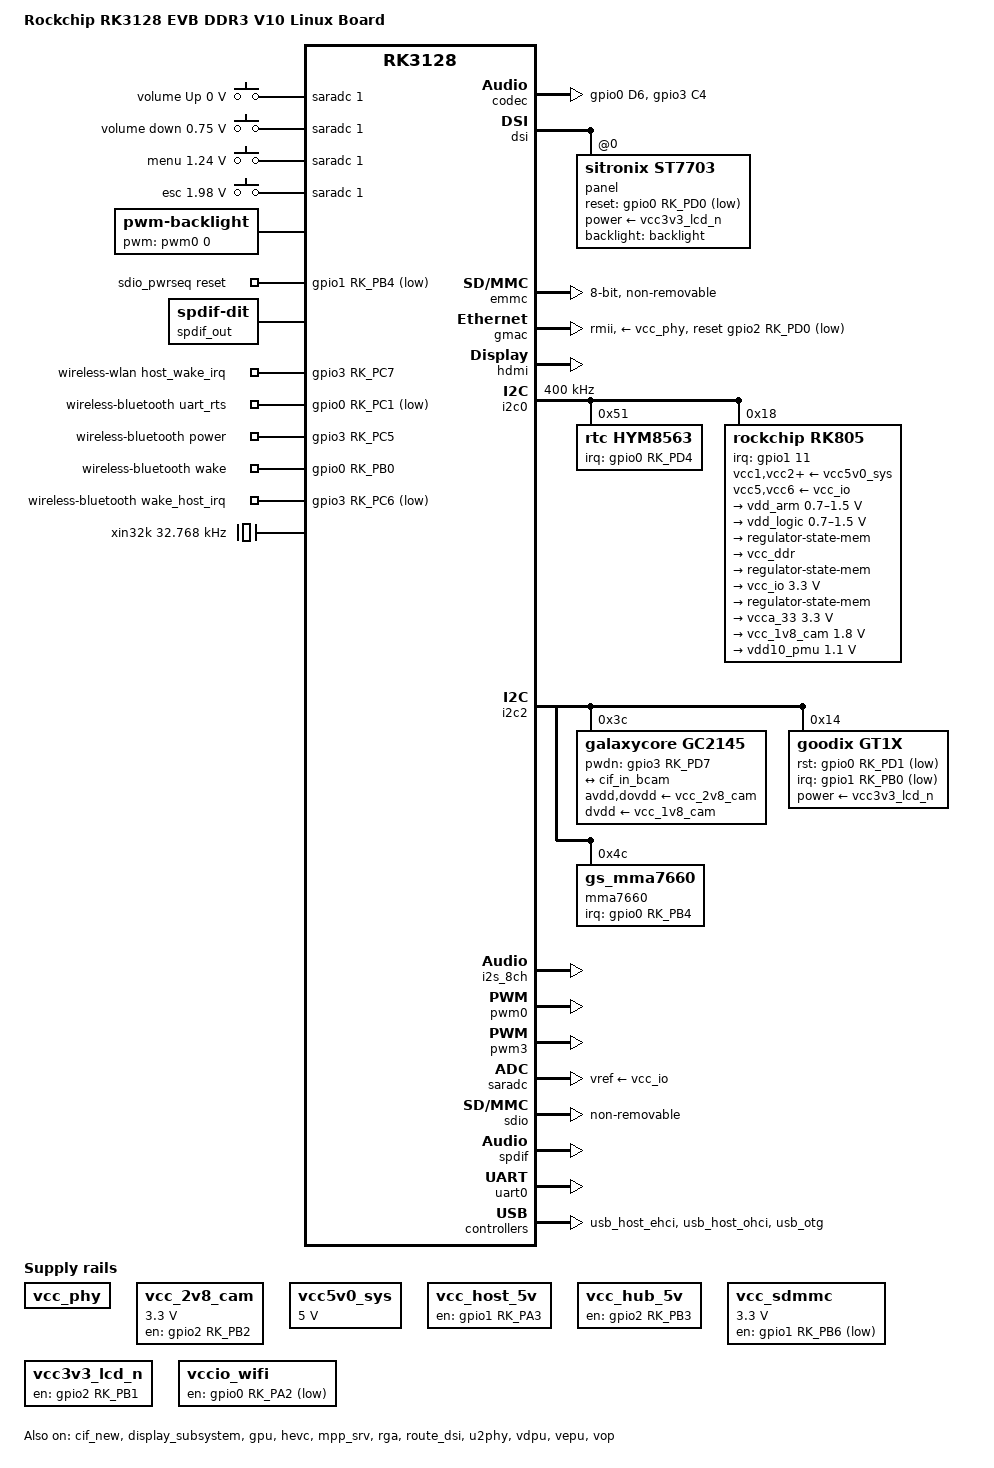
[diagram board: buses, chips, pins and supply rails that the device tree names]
// SPDX-License-Identifier: (GPL-2.0+ OR MIT)
/*
 * Copyright (c) 2022 Rockchip Electronics Co., Ltd
 */

/dts-v1/;
#include <dt-bindings/gpio/gpio.h>
#include <dt-bindings/input/rk-input.h>
#include <dt-bindings/pinctrl/rockchip.h>
#include <dt-bindings/pwm/pwm.h>
#include <dt-bindings/sensor-dev.h>
#include "rk3128.dtsi"
#include "rk312x-android.dtsi"

/ {
	model = "Rockchip RK3128 EVB DDR3 V10 Linux Board";
	compatible = "rockchip,rk3128";

	chosen {
		bootargs = "root=PARTUUID=614e0000-0000-4b53-8000-1d28000054a9 rootwait";
	};

	adc-keys {
		compatible = "adc-keys";
		io-channels = <&saradc 1>;
		io-channel-names = "buttons";
		poll-interval = <100>;
		keyup-threshold-microvolt = <3300000>;

		vol-up-key {
			label = "volume Up";
			linux,code = <KEY_VOLUMEUP>;
			press-threshold-microvolt = <0>;
		};

		vol-down-key{
			label = "volume down";
			linux,code = <KEY_VOLUMEDOWN>;
			press-threshold-microvolt = <750000>;
		};

		menu-key{
			label = "menu";
			linux,code = <KEY_MENU>;
			press-threshold-microvolt = <1240000>;
		};

		esc-key {
			label = "esc";
			linux,code = <KEY_ESC>;
			press-threshold-microvolt = <1980000>;
		};
	};

	backlight: backlight {
		compatible = "pwm-backlight";
		pwms = <&pwm0 0 25000 0>;
		brightness-levels = <0 1 2 3 4 5 6 7 8 9 10 11 12 13 14 15 16
			17 18 19 20 21 22 23 24 25 26 27 28 29 30 31 32 33 34
			35 36 37 38 39 40 41 42 43 44 45 46 47 48 49 50 51 52
			53 54 55 56 57 58 59 60 61 62 63 64 65 66 67 68 69 70
			71 72 73 74 75 76 77 78 79 80 81 82 83 84 85 86 87 88
			89 90 91 92 93 94 95 96 97 98 99 100 101 102 103 104
			105 106 107 108 109 110 111 112 113 114 115 116 117
			118 119 120 121 122 123 124 125 126 127 128 129 130
			131 132 133 134 135 136 137 138 139 140 141 142 143
			144 145 146 147 148 149 150 151 152 153 154 155 156
			157 158 159 160 161 162 163 164 165 166 167 168 169
			170 171 172 173 174 175 176 177 178 179 180 181 182
			183 184 185 186 187 188 189 190 191 192 193 194 195
			196 197 198 199 200 201 202 203 204 205 206 207 208
			209 210 211 212 213 214 215 216 217 218 219 220 221
			222 223 224 225 226 227 228 229 230 231 232 233 234
			235 236 237 238 239 240 241 242 243 244 245 246 247
			248 249 250 251 252 253 254 255>;
		default-brightness-level = <128>;
	};

	sdio_pwrseq: sdio-pwrseq{
		compatible = "mmc-pwrseq-simple";
		pinctrl-name = "default";
		pinctrl-0 = <&wifi_enable_h>;
		reset-gpios = <&gpio1 RK_PB4 GPIO_ACTIVE_LOW>;
	};

	sound: sound {
		compatible = "simple-audio-card";
		simple-audio-card,format = "i2s";
		simple-audio-card,name = "rockchip,rk312x-codec";
		simple-audio-card,mclk-fs = <256>;
		simple-audio-card,widgets =
			"Headphone", "Headphone Jack";
		simple-audio-card,routing =
			"Headphone Jack", "HPOL",
			"Headphone Jack", "HPOR";

		simple-audio-card,dai-link@0 {
			format = "i2s";
			cpu {
				sound-dai = <&i2s_8ch 0>;
			};

			codec {
				sound-dai = <&codec>;
			};
		};

		simple-audio-card,dai-link@1 {
			format = "i2s";
			cpu {
				sound-dai = <&i2s_8ch 1>;
			};

			codec {
				sound-dai = <&hdmi>;
			};
		};
	};

	spdif_out: spdif-out {
		status = "okay";
		compatible = "linux,spdif-dit";
		#sound-dai-cells = <0>;
	};

	spdif_sound: spdif-sound {
		status = "okay";
		compatible = "simple-audio-card";
		simple-audio-card,name = "ROCKCHIP,SPDIF";
		simple-audio-card,cpu {
			sound-dai = <&spdif>;
		};
		simple-audio-card,codec {
			sound-dai = <&spdif_out>;
		};
	};

	wireless-wlan {
		compatible = "wlan-platdata";
		wifi_chip_type = "ap6212";
		sdio_vref = <3300>;
		rockchip,grf = <&grf>;
		WIFI,host_wake_irq = <&gpio3 RK_PC7 GPIO_ACTIVE_HIGH>;
		status = "okay";
	};

	wireless-bluetooth {
		compatible = "bluetooth-platdata";
		clocks = <&rk805 1>;
		clock-names = "ext_clock";
		uart_rts_gpios = <&gpio0 RK_PC1 GPIO_ACTIVE_LOW>;
		pinctrl-names = "default","rts_gpio";
		pinctrl-0 = <&uart0_rts>;
		pinctrl-1 = <&uart0_rts_gpio>;
		BT,power_gpio = <&gpio3 RK_PC5 GPIO_ACTIVE_HIGH>;
		BT,wake_gpio = <&gpio0 RK_PB0 GPIO_ACTIVE_HIGH>;
		BT,wake_host_irq = <&gpio3 RK_PC6 GPIO_ACTIVE_LOW>;
		status = "okay";
	};

	vcc_phy: vcc-phy-regulator {
		compatible = "regulator-fixed";
		enable-active-high;
		regulator-name = "vcc_phy";
		regulator-always-on;
		regulator-boot-on;
	};

	vcc_2v8_cam: vcc-3v3-cam {
		compatible = "regulator-fixed";
		regulator-name = "vcc_2v8_cam";
		gpio = <&gpio2 RK_PB2 GPIO_ACTIVE_LOW>;
		enable-active-high;
		regulator-min-microvolt = <3300000>;
		regulator-max-microvolt = <3300000>;
	};

	vcc5v0_sys: vcc-sys {
		compatible = "regulator-fixed";
		regulator-name = "vcc5v0_sys";
		regulator-always-on;
		regulator-boot-on;
		regulator-min-microvolt = <5000000>;
		regulator-max-microvolt = <5000000>;
	};

	vcc_host_5v: vcc-host-5v-regulator {
		compatible = "regulator-fixed";
		enable-active-high;
		gpio = <&gpio1 RK_PA3 GPIO_ACTIVE_LOW>;
		pinctrl-names = "default";
		pinctrl-0 = <&host_vbus_drv>;
		regulator-name = "vcc_host_5v";
		regulator-always-on;
	};

	vcc_hub_5v: vcc-hub-5v-regulator {
		compatible = "regulator-fixed";
		regulator-name = "vcc_hub_5v";
		gpio = <&gpio2 RK_PB3 GPIO_ACTIVE_LOW>;
		pinctrl-names = "default";
		pinctrl-0 = <&hub_rst>;
		enable-active-high;
		regulator-always-on;
	};

	vcc_sdmmc: vcc-sdmmc{
		compatible = "regulator-fixed";
		gpio = <&gpio1 RK_PB6 GPIO_ACTIVE_HIGH>;
		pinctrl-names = "default";
		pinctrl-0 = <&sdmmc_pwren>;
		regulator-name = "vcc_sdmmc";
		regulator-min-microvolt = <3300000>;
		regulator-max-microvolt = <3300000>;
	};

	vcc3v3_lcd_n: vcc3v3-lcd-n {
		compatible = "regulator-fixed";
		regulator-name = "vcc3v3_lcd_n";
		pinctrl-names = "default";
		pinctrl-0 = <&lcd_en>;
		gpio = <&gpio2 RK_PB1 GPIO_ACTIVE_HIGH>;
		enable-active-high;
		regulator-boot-on;
	};

	vccio_wifi: vccio-wifi {
		compatible = "regulator-fixed";
		regulator-name = "vccio_wifi";
		pinctrl-names = "default";
		pinctrl-0 = <&wifi_pwren_l>;
		gpio = <&gpio0 RK_PA2 GPIO_ACTIVE_LOW>;
		regulator-boot-on;
		regulator-always-on;
	};

	xin32k: xin32k {
		compatible = "fixed-clock";
		clock-frequency = <32768>;
		clock-output-names = "xin32k";
		#clock-cells = <0>;
	};
};

&cif_new {
	status = "okay";

	ports {
		port@0 {
			cif_in_bcam: endpoint@0 {
				remote-endpoint = <&gc2145_out>;
				vsync-active = <0>;
				hsync-active = <1>;
			};
		};
	};
};

&codec{
	spk-ctl-gpios = <&gpio0 RK_PD6 GPIO_ACTIVE_HIGH>;
	hp-ctl-gpios = <&gpio3 RK_PC4 GPIO_ACTIVE_LOW>;
	spk-mute-delay = <200>;
	hp-mute-delay = <100>;
	rk312x_for_mid = <0>;
	is_rk3128 = <1>;
	spk_volume = <25>;
	hp_volume = <25>;
	capture_volume = <26>;
	gpio_debug = <1>;
	codec_hp_det = <1>;
	#sound-dai-cells = <0>;
	pinctrl-names = "default";
	pinctrl-0 = <&spk_ctl_h>, <&hp_ctl_h>;
	status = "okay";
};

&cpu0 {
	cpu-supply = <&vdd_arm>;
};

&display_subsystem {
	status = "okay";
};

&dmc {
	center-supply = <&vdd_logic>;
};

&dsi {
	status = "okay";

	panel@0 {
		compatible = "sitronix,st7703", "simple-panel-dsi";
		reg = <0>;
		backlight = <&backlight>;
		power-supply = <&vcc3v3_lcd_n>;
		reset-gpio = <&gpio0 RK_PD0 GPIO_ACTIVE_LOW>;
		prepare-delay-ms = <0>;
		reset-delay-ms = <0>;
		init-delay-ms = <80>;
		enable-delay-ms = <0>;
		disable-delay-ms = <10>;
		unprepare-delay-ms = <60>;

		width-mm = <68>;
		height-mm = <121>;

		dsi,flags = <(MIPI_DSI_MODE_VIDEO | MIPI_DSI_MODE_VIDEO_BURST |
			      MIPI_DSI_MODE_LPM | MIPI_DSI_MODE_EOT_PACKET)>;
		dsi,format = <MIPI_DSI_FMT_RGB888>;
		dsi,lanes = <4>;

		panel-init-sequence = [
			39 00 04 ff 98 81 03
			15 00 02 01 00
			15 00 02 02 00
			15 00 02 03 53
			15 00 02 04 53
			15 00 02 05 13
			15 00 02 06 04
			15 00 02 07 02
			15 00 02 08 02
			15 00 02 09 00
			15 00 02 0a 00
			15 00 02 0b 00
			15 00 02 0c 00
			15 00 02 0d 00
			15 00 02 0e 00
			15 00 02 0f 00

			15 00 02 10 00
			15 00 02 11 00
			15 00 02 12 00
			15 00 02 13 00
			15 00 02 14 00
			15 00 02 15 08
			15 00 02 16 10
			15 00 02 17 00
			15 00 02 18 08
			15 00 02 19 00
			15 00 02 1a 00
			15 00 02 1b 00
			15 00 02 1c 00
			15 00 02 1d 00
			15 00 02 1e c0
			15 00 02 1f 80

			15 00 02 20 02
			15 00 02 21 09
			15 00 02 22 00
			15 00 02 23 00
			15 00 02 24 00
			15 00 02 25 00
			15 00 02 26 00
			15 00 02 27 00
			15 00 02 28 55
			15 00 02 29 03
			15 00 02 2a 00
			15 00 02 2b 00
			15 00 02 2c 00
			15 00 02 2d 00
			15 00 02 2e 00
			15 00 02 2f 00

			15 00 02 30 00
			15 00 02 31 00
			15 00 02 32 00
			15 00 02 33 00
			15 00 02 34 04
			15 00 02 35 05
			15 00 02 36 05
			15 00 02 37 00
			15 00 02 38 3c
			15 00 02 39 35
			15 00 02 3a 00
			15 00 02 3b 40
			15 00 02 3c 00
			15 00 02 3d 00
			15 00 02 3e 00
			15 00 02 3f 00

			15 00 02 40 00
			15 00 02 41 88
			15 00 02 42 00
			15 00 02 43 00
			15 00 02 44 1f

			15 00 02 50 01
			15 00 02 51 23
			15 00 02 52 45
			15 00 02 53 67
			15 00 02 54 89
			15 00 02 55 ab
			15 00 02 56 01
			15 00 02 57 23
			15 00 02 58 45
			15 00 02 59 67
			15 00 02 5a 89
			15 00 02 5b ab
			15 00 02 5c cd
			15 00 02 5d ef
			15 00 02 5e 03
			15 00 02 5f 14

			15 00 02 60 15
			15 00 02 61 0c
			15 00 02 62 0d
			15 00 02 63 0e
			15 00 02 64 0f
			15 00 02 65 10
			15 00 02 66 11
			15 00 02 67 08
			15 00 02 68 02
			15 00 02 69 0a
			15 00 02 6a 02
			15 00 02 6b 02
			15 00 02 6c 02
			15 00 02 6d 02
			15 00 02 6e 02
			15 00 02 6f 02

			15 00 02 70 02
			15 00 02 71 02
			15 00 02 72 06
			15 00 02 73 02
			15 00 02 74 02
			15 00 02 75 14
			15 00 02 76 15
			15 00 02 77 0f
			15 00 02 78 0e
			15 00 02 79 0d
			15 00 02 7a 0c
			15 00 02 7b 11
			15 00 02 7c 10
			15 00 02 7d 06
			15 00 02 7e 02
			15 00 02 7f 0a

			15 00 02 80 02
			15 00 02 81 02
			15 00 02 82 02
			15 00 02 83 02
			15 00 02 84 02
			15 00 02 85 02
			15 00 02 86 02
			15 00 02 87 02
			15 00 02 88 08
			15 00 02 89 02
			15 00 02 8a 02

			39 00 04 ff 98 81 04
			15 00 02 00 80
			15 00 02 70 00
			15 00 02 71 00
			15 00 02 66 fe
			15 00 02 82 15
			15 00 02 84 15
			15 00 02 85 15
			15 00 02 3a 24
			15 00 02 32 ac
			15 00 02 8c 80
			15 00 02 3c f5
			15 00 02 88 33

			39 00 04 ff 98 81 01
			15 00 02 22 0a
			15 00 02 31 00
			15 00 02 53 78
			15 00 02 50 5b
			15 00 02 51 5b
			15 00 02 60 20
			15 00 02 61 00
			15 00 02 62 0d
			15 00 02 63 00

			15 00 02 a0 00
			15 00 02 a1 10
			15 00 02 a2 1c
			15 00 02 a3 13
			15 00 02 a4 15
			15 00 02 a5 26
			15 00 02 a6 1a
			15 00 02 a7 1d
			15 00 02 a8 67
			15 00 02 a9 1c
			15 00 02 aa 29
			15 00 02 ab 5b
			15 00 02 ac 26
			15 00 02 ad 28
			15 00 02 ae 5c
			15 00 02 af 30
			15 00 02 b0 31
			15 00 02 b1 2e
			15 00 02 b2 32
			15 00 02 b3 00

			15 00 02 c0 00
			15 00 02 c1 10
			15 00 02 c2 1c
			15 00 02 c3 13
			15 00 02 c4 15
			15 00 02 c5 26
			15 00 02 c6 1a
			15 00 02 c7 1d
			15 00 02 c8 67
			15 00 02 c9 1c
			15 00 02 ca 29
			15 00 02 cb 5b
			15 00 02 cc 26
			15 00 02 cd 28
			15 00 02 ce 5c
			15 00 02 cf 30
			15 00 02 d0 31
			15 00 02 d1 2e
			15 00 02 d2 32
			15 00 02 d3 00
			39 00 04 ff 98 81 00
			05 00 01 11
			05 01 01 29
		];

		panel-exit-sequence = [
			05 00 01 28
			05 00 01 10
		];

		display-timings {
			native-mode = <&timing0>;

			timing0: timing0 {
				clock-frequency = <65000000>;
				hactive = <720>;
				vactive = <1280>;
				hfront-porch = <40>;
				hsync-len = <10>;
				hback-porch = <40>;
				vfront-porch = <22>;
				vsync-len = <4>;
				vback-porch = <11>;
				hsync-active = <0>;
				vsync-active = <0>;
				de-active = <0>;
				pixelclk-active = <0>;
			};
		};
	};
};

&emmc {
	bus-width = <8>;
	cap-mmc-highspeed;
	supports-emmc;
	disable-wp;
	non-removable;
	num-slots = <1>;
	pinctrl-names = "default";
	pinctrl-0 = <&emmc_clk &emmc_cmd &emmc_bus8>;
	status = "okay";
};

&gmac {
	assigned-clocks = <&cru SCLK_MAC_SRC>;
	assigned-clock-rates = <50000000>;
	clock_in_out = "output";
	pinctrl-names = "default";
	pinctrl-0 = <&rmii_pins>;
	phy-supply = <&vcc_phy>;
	phy-mode = "rmii";
	snps,reset-active-low;
	snps,reset-delays-us = <0 10000 50000>;
	snps,reset-gpio = <&gpio2 RK_PD0 GPIO_ACTIVE_LOW>;
	status = "okay";
};

&gpu {
	status = "okay";
	mali-supply = <&vdd_logic>;
};

&hdmi {
	#sound-dai-cells = <0>;
	status = "okay";
};

&hevc {
	status = "okay";
};

&hevc_mmu {
	status = "okay";
};

&i2c0 {
	status = "okay";
	clock-frequency = <400000>;

	rtc@51 {
		compatible = "rtc,hym8563";
		reg = <0x51>;
		irq_gpio = <&gpio0 RK_PD4 IRQ_TYPE_EDGE_FALLING>;
	};

	rk805: rk805@18 {
		compatible = "rockchip,rk805";
		status = "okay";
		reg = <0x18>;
		interrupt-parent = <&gpio1>;
		interrupts = <11 IRQ_TYPE_LEVEL_LOW>;
		pinctrl-names = "default";
		pinctrl-0 = <&pmic_int>;
		rockchip,system-power-controller;
		wakeup-source;
		gpio-controller;
		#gpio-cells = <2>;
		#clock-cells = <1>;
		clock-output-names = "rk805-clkout1", "rk805-clkout2";

		vcc1-supply = <&vcc5v0_sys>;
		vcc2-supply = <&vcc5v0_sys>;
		vcc3-supply = <&vcc5v0_sys>;
		vcc4-supply = <&vcc5v0_sys>;
		vcc5-supply = <&vcc_io>;
		vcc6-supply = <&vcc_io>;

		rtc {
			status = "okay";
		};

		pwrkey {
			status = "okay";
		};

		gpio {
			status = "okay";
		};

		regulators {
			compatible = "rk805-regulator";
			status = "okay";
			#address-cells = <1>;
			#size-cells = <0>;

			vdd_arm: DCDC_REG1 {
				regulator-name = "vdd_arm";
				regulator-min-microvolt = <700000>;
				regulator-max-microvolt = <1500000>;
				regulator-initial-mode = <0x1>;
				regulator-initial-state = <3>;
				regulator-boot-on;
				regulator-always-on;
				regulator-state-mem {
					regulator-state-mode = <0x2>;
					regulator-state-enabled;
					regulator-state-uv = <975000>;
				};
			};

			vdd_logic: DCDC_REG2 {
				regulator-name = "vdd_logic";
				regulator-min-microvolt = <700000>;
				regulator-max-microvolt = <1500000>;
				regulator-initial-mode = <0x1>;
				regulator-ramp-delay = <12500>;
				regulator-boot-on;
				regulator-always-on;
				regulator-state-mem {
					regulator-mode = <0x2>;
					regulator-on-in-suspend;
					regulator-suspend-microvolt = <1000000>;
				};
			};

			vcc_ddr: DCDC_REG3 {
				regulator-name = "vcc_ddr";
				regulator-initial-mode = <0x1>;
				regulator-boot-on;
				regulator-always-on;
				regulator-state-mem {
					regulator-mode = <0x2>;
					regulator-on-in-suspend;
				};
			};

			vcc_io: DCDC_REG4 {
				regulator-name = "vcc_io";
				regulator-min-microvolt = <3300000>;
				regulator-max-microvolt = <3300000>;
				regulator-initial-mode = <0x1>;
				regulator-boot-on;
				regulator-always-on;
				regulator-state-mem {
					regulator-mode = <0x2>;
					regulator-on-in-suspend;
					regulator-suspend-microvolt = <3300000>;
				};
			};

			vcca_33: LDO_REG1 {
				regulator-name = "vcca_33";
				regulator-min-microvolt = <3300000>;
				regulator-max-microvolt = <3300000>;
				regulator-initial-state = <3>;
				regulator-boot-on;
				regulator-always-on;
				regulator-state-mem {
					regulator-on-in-suspend;
					regulator-suspend-microvolt = <3300000>;
				};
			};

			vcc_1v8_cam: LDO_REG2 {
				regulator-name = "vcc_1v8_cam";
				regulator-min-microvolt = <1800000>;
				regulator-max-microvolt = <1800000>;
				regulator-boot-on;
				regulator-always-on;
				regulator-state-mem {
					regulator-on-in-suspend;
					regulator-suspend-microvolt = <1800000>;
				};
			};

			vdd10_pmu: LDO_REG3 {
				regulator-name = "vdd10_pmu";
				regulator-min-microvolt = <1100000>;
				regulator-max-microvolt = <1100000>;
				regulator-boot-on;
				regulator-always-on;
				regulator-state-mem {
					regulator-on-in-suspend;
					regulator-suspend-microvolt = <1100000>;
				};
			};
		};
	};
};

&i2c2 {
	status = "okay";

	gc2145@3c {
		status = "okay";
		compatible = "galaxycore,gc2145";
		reg = <0x3c>;

		clocks = <&cru SCLK_CIF_OUT>;
		clock-names = "xvclk";
		pwdn-gpios = <&gpio3 RK_PD7 GPIO_ACTIVE_HIGH>;

		avdd-supply = <&vcc_2v8_cam>;
		dovdd-supply = <&vcc_2v8_cam>;
		dvdd-supply = <&vcc_1v8_cam>;

		rockchip,camera-module-index = <0>;
		rockchip,camera-module-facing = "back";
		rockchip,camera-module-name = "CameraKing";
		rockchip,camera-module-lens-name = "Largan";

		port {
			gc2145_out: endpoint {
				remote-endpoint = <&cif_in_bcam>;
			};
		};
	};

	gt1x: gt1x@14 {
		status = "okay";
		compatible = "goodix,gt1x";
		reg = <0x14>;
		power-supply = <&vcc3v3_lcd_n>;
		pinctrl-names = "default";
		pinctrl-0 = <&tp_rst>, <&tp_irq>;
		goodix,rst-gpio = <&gpio0 RK_PD1 GPIO_ACTIVE_LOW>;
		goodix,irq-gpio = <&gpio1 RK_PB0 GPIO_ACTIVE_LOW>;
	};

	mma7660: mma7660@4c {
		status = "okay";
		compatible = "gs_mma7660";
		reg = <0x4c>;
		type = <SENSOR_TYPE_ACCEL>;
		irq-gpio = <&gpio0 RK_PB4 IRQ_TYPE_LEVEL_LOW>;
		irq_enable = <0>;
		poll_delay_ms = <30>;
		layout = <1>;
		reprobe_en = <1>;
	};
};

&i2s_8ch{
	status = "okay";
	#sound-dai-cells = <0>;
};

&mpp_srv {
	status = "okay";
};

&pinctrl {
	codec{
		spk_ctl_h: spk-ctl-h{
			rockchip,pins = <0 RK_PD6 RK_FUNC_GPIO &pcfg_pull_none>;
		};

		hp_ctl_h: hp-ctl-h{
			rockchip,pins = <3 RK_PC4 RK_FUNC_GPIO &pcfg_pull_none>;
		};
	};

	lcd {
		lcd_en: lcd-en {
			rockchip,pins = <2 RK_PB1 RK_FUNC_GPIO &pcfg_pull_none>;
		};

		tp_rst: tp-rst {
			rockchip,pins = <0 RK_PD1 RK_FUNC_GPIO &pcfg_pull_none>;
		};

		tp_irq: tp-irq {
			rockchip,pins = <1 RK_PB0 RK_FUNC_GPIO &pcfg_pull_none>;
		};
	};

	pmic {
		pmic_int: pmic-int {
			rockchip,pins = <1 RK_PB3 RK_FUNC_GPIO &pcfg_pull_default>;
		};

		pmic_sleep: pmic-sleep {
			rockchip,pins = <3 RK_PC1 2 &pcfg_pull_default>;
		};
	};

	sensor {
		mma7660_irq_gpio: mma7660-irq-gpio {
			rockchip,pins = <0 RK_PB4 RK_FUNC_GPIO &pcfg_pull_none>;
		};
	};

	usb2 {
		host_vbus_drv: host-vbus-drv {
			rockchip,pins = <1 RK_PA3 RK_FUNC_GPIO &pcfg_pull_none>;
		};

		hub_rst: hub-rst {
			rockchip,pins = <2 RK_PB3 RK_FUNC_GPIO &pcfg_pull_none>;
		};
	};

	uart0{
		uart0_rts_gpio: uart0-rts-gpio{
			rockchip,pins = <0 RK_PC1 RK_FUNC_GPIO &pcfg_pull_none>;
		};
	};

	wifi{
		wifi_enable_h: wifi-enable-h{
			rockchip,pins = <1 RK_PB4 RK_FUNC_GPIO &pcfg_pull_none>;
		};
		wifi_pwren_l: wifi-pwren-l{
			rockchip,pins = <0 RK_PA2 RK_FUNC_GPIO &pcfg_pull_none>;
		};
	};
};

&pwm0 {
	status = "okay";
};

&pwm3{
	interrupts = <GIC_SPI 30 IRQ_TYPE_LEVEL_HIGH>;
	compatible = "rockchip,remotectl-pwm";
	pinctrl-names = "default";
	remote_pwm_id = <3>;
	handle_cpu_id = <0>;
	remote_support_psci = <0>;
	status = "okay";
	ir_key1 {
		rockchip,usercode = <0xff00>;
		rockchip,key_table =
			<0xeb   KEY_POWER>,
			<0xec   KEY_COMPOSE>,
			<0xfe   KEY_BACK>,
			<0xb7   KEY_HOME>,
			<0xa3   KEY_WWW>,
			<0xf4   KEY_VOLUMEUP>,
			<0xa7   KEY_VOLUMEDOWN>,
			<0xf8   KEY_ENTER>,
			<0xfc   KEY_UP>,
			<0xfd   KEY_DOWN>,
			<0xf1   KEY_LEFT>,
			<0xe5   KEY_RIGHT>;
	};
};

&rga {
	status = "okay";
};

&route_dsi{
	status = "okay";
};

&saradc {
	status = "okay";
	vref-supply = <&vcc_io>;
};

&sdio {
	max-frequency = <50000000>;
	supports-sdio;
	disable-wp;
	cap-sd-highspeed;
	cap-sdio-irq;
	keep-power-in-suspend;
	pinctrl-names = "default";
	pinctrl-0 = <&sdio_cmd &sdio_clk &sdio_bus4>;
	mmc-pwrseq = <&sdio_pwrseq>;
	non-removable;
	sd-uhs-sdr104;
	status = "okay";
};

&sdmmc {
	cap-mmc-highspeed;
	cap-sd-highspeed;
	supports-sd;
	vmmc-supply = <&vcc_sdmmc>;
	broken-cd;
	card-detect-delay = <800>;
	ignore-pm-notify;
	keep-power-in-suspend;
	cd-gpios = <&gpio1 RK_PC1 GPIO_ACTIVE_HIGH>; /* CD GPIO */
	status = "disabled";
};

&spdif{
	compatible = "rockchip,rk3188-spdif";
	status = "okay";
	i2c-scl-rising-time-ns = <450>;
	i2c-scl-falling-time-ns = <15>;
	#sound-dai-cells = <0>;
};

&u2phy {
	status = "okay";

	u2phy_otg: otg-port {
		status = "okay";
	};

	u2phy_host: host-port {
		phy-supply = <&vcc_host_5v>;
		status = "okay";
	};
};

&uart0{
	pinctrl-names = "default";
	pinctrl-0 = <&uart0_xfer &uart0_cts>;
	status = "okay";
};

&usb_host_ehci {
	status = "okay";
};

&usb_host_ohci {
	status = "okay";
};

&usb_otg {
	status = "okay";
};

&vdpu {
	status = "okay";
};

&vepu {
	status = "okay";
};

&vop {
	status = "okay";
};

&vop_mmu {
	status = "okay";
};

&vpu_mmu {
	status = "okay";
};
